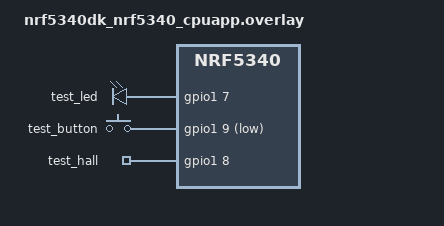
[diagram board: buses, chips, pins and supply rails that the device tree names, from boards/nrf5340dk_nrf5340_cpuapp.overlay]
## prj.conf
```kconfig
CONFIG_GPIO=y
# We don't enable GPIO_EMUL here because this is the global config. 
# We will enable it specifically for the test target later.
```

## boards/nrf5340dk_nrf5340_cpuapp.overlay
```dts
/ {
    aliases {
        led0 = &test_led;
        sw0 = &test_button;
        hal0 = &test_hall;
    };

    leds {
        compatible = "gpio-leds";
        test_led: led_0 {
            gpios = <&gpio1 7 GPIO_ACTIVE_HIGH>;
        };
    };

    buttons {
        compatible = "gpio-keys";
        test_button: btn_0 {
            gpios = <&gpio1 9 (GPIO_PULL_UP | GPIO_ACTIVE_LOW)>;
        };
        test_hall: hall_0 {
            gpios = <&gpio1 8 GPIO_ACTIVE_HIGH>;
        };
    };
};

&gpio1 {
	status = "okay";
};
```

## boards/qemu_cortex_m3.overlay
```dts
/* This is the missing piece! */
#include <zephyr/dt-bindings/gpio/gpio.h>

/ {
    aliases {
        led0 = &test_led;
        sw0 = &test_button;
        hal0 = &test_hall;
    };

    leds {
        compatible = "gpio-leds";
        test_led: led_0 {
            /* Pin 0 on GPIO port 0 */
            gpios = <&gpio0 0 GPIO_ACTIVE_HIGH>;
        };
    };

    buttons {
        compatible = "gpio-keys";
        test_button: btn_0 {
            /* Pin 1 on GPIO port 0 */
            gpios = <&gpio0 1 (GPIO_PULL_UP | GPIO_ACTIVE_LOW)>;
        };
        test_hall: hall_0 {
            /* Pin 2 on GPIO port 0 */
            gpios = <&gpio0 2 GPIO_ACTIVE_HIGH>;
        };
    };
};
```

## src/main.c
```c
#include <zephyr/kernel.h>
#include "biz_logic.h"

int main(void) {
    biz_logic_init();

    while (1) {
        biz_logic_process();
        k_msleep(get_current_blink_interval());
    }
    return 0;
}
```
